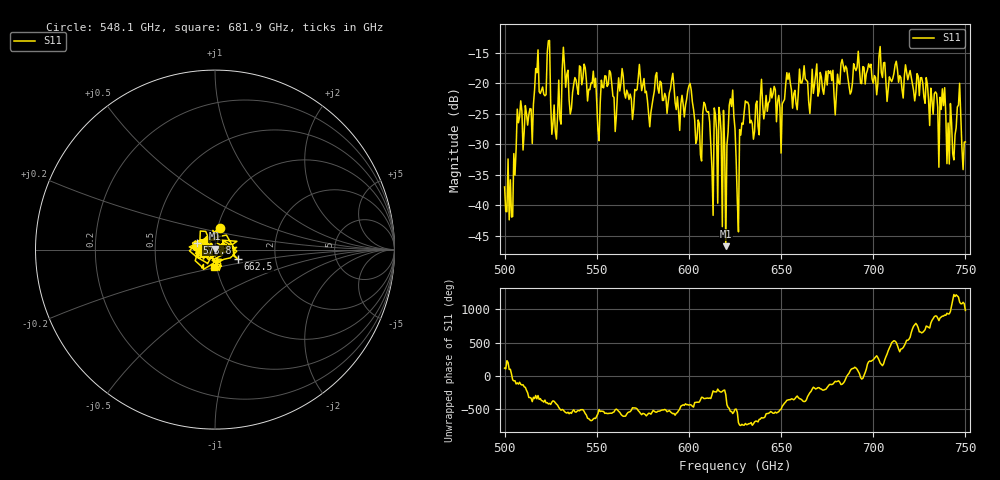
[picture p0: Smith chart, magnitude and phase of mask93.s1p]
!Created with skrf (http://scikit-rf.org).
# GHz S MA R 50.0
!freq magS11 angS11
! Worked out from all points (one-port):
!   401 points, 500 GHz to 750 GHz, reference 50 ohm
!   lowest |S11| = -46.7 dB at 620 GHz (marker M1), VSWR 1.01, Z = 50.1 + j0.46 ohm
!   |S11| at or under -10 dB: start of sweep to end of sweep
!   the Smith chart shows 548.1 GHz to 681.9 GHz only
!   S11 on the Smith chart (normalised r, x): 548.1 GHz: 1.03, +0.25; 573.8 GHz: 0.81, +0.06; 662.5 GHz: 1.28, -0.14; 681.9 GHz: 0.97, -0.19
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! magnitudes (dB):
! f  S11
! 500 GHz  -37.0
! 517.5 GHz  -18.3
! 523.8 GHz  -13.1
! 526.9 GHz  -23.6
! 531.2 GHz  -17.7
! 548.1 GHz  -18.0
! 551.2 GHz  -29.4
! 562.5 GHz  -21.3
! 573.8 GHz  -19.3
! 593.8 GHz  -22.2
! 600.6 GHz  -20.0
! 605.6 GHz  -26.6
! 609.4 GHz  -24.5
! 611.9 GHz  -30.2
! 620 GHz  -46.7
! 623.1 GHz  -23.8
! 625 GHz  -27.4
! 626.9 GHz  -44.3
! 631.2 GHz  -23.2
! 656.2 GHz  -24.1
! 662.5 GHz  -17.1
! 681.9 GHz  -20.1
! 687.5 GHz  -21.8
! 718.8 GHz  -19.4
! 737.5 GHz  -20.9
! 742.5 GHz  -26.4
! 746.2 GHz  -23.6
! 750 GHz  -29.6
